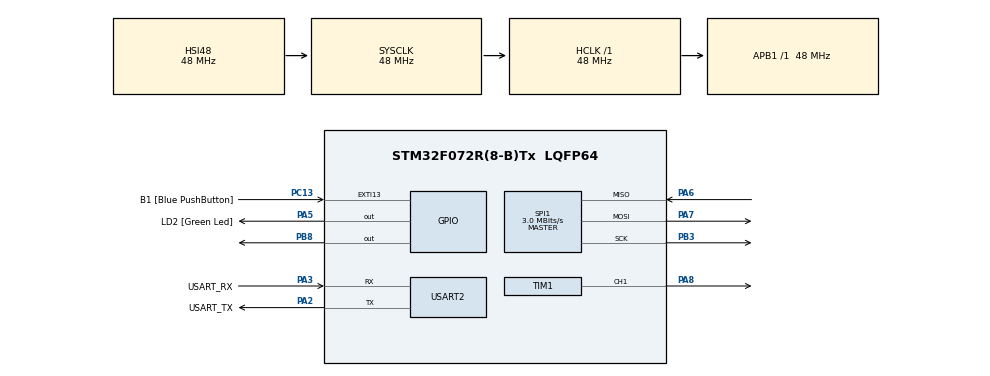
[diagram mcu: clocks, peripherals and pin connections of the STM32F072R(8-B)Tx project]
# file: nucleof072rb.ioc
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Mcu.Family=STM32F0
Mcu.Name=STM32F072R(8-B)Tx
Mcu.Package=LQFP64
PA13.GPIO_Label=TMS
PA13.Mode=Serial_Wire
PA13.Signal=SYS_SWDIO
PA14.GPIO_Label=TCK
PA14.Mode=Serial_Wire
PA14.Signal=SYS_SWCLK
PA2.GPIO_Label=USART_TX
PA2.GPIO_Mode=GPIO_MODE_AF_PP
PA2.GPIO_PuPd=GPIO_NOPULL
PA2.GPIO_Speed=GPIO_SPEED_FREQ_LOW
PA2.Mode=Asynchronous
PA2.Signal=USART2_TX
PA3.GPIO_Label=USART_RX
PA3.GPIO_Mode=GPIO_MODE_AF_PP
PA3.GPIO_PuPd=GPIO_NOPULL
PA3.GPIO_Speed=GPIO_SPEED_FREQ_LOW
PA3.Mode=Asynchronous
PA3.Signal=USART2_RX
PA5.GPIO_Label=LD2 [Green Led]
PA5.GPIO_Mode=GPIO_MODE_OUTPUT_PP
PA5.GPIO_PuPd=GPIO_NOPULL
PA5.GPIO_Speed=GPIO_SPEED_FREQ_LOW
PA5.Signal=GPIO_Output
PA6.Mode=Full_Duplex_Master
PA6.Signal=SPI1_MISO
PA7.Mode=Full_Duplex_Master
PA7.Signal=SPI1_MOSI
PA8.Signal=S_TIM1_CH1
PB3.Mode=Full_Duplex_Master
PB3.Signal=SPI1_SCK
PB8.Signal=GPIO_Output
PC13.GPIO_Label=B1 [Blue PushButton]
PC13.GPIO_ModeDefaultEXTI=GPIO_MODE_IT_FALLING
PC13.Signal=GPXTI13
PC14-OSC32_IN.Mode=LSE-External-Oscillator
PC14-OSC32_IN.Signal=RCC_OSC32_IN
PC15-OSC32_OUT.Mode=LSE-External-Oscillator
PC15-OSC32_OUT.Signal=RCC_OSC32_OUT
PF0-OSC_IN.Mode=HSE-External-Clock-Source
PF0-OSC_IN.Signal=RCC_OSC_IN
PF1-OSC_OUT.Signal=RCC_OSC_OUT
ProjectManager.HeapSize=0x200
ProjectManager.StackSize=0x400
ProjectManager.TargetToolchain=STM32CubeIDE
RCC.AHBFreq_Value=48000000
RCC.APB1Freq_Value=48000000
RCC.APB1TimFreq_Value=48000000
RCC.FLatency-AdvancedSettings=FLASH_LATENCY_1
RCC.HCLKFreq_Value=48000000
RCC.PLLDivider=RCC_PREDIV_DIV2
RCC.PLLMUL=RCC_PLL_MUL12
RCC.PREFETCH_ENABLE-AdvancedSettings=1
RCC.SYSCLKFreq_VALUE=48000000
RCC.SYSCLKSource=RCC_SYSCLKSOURCE_HSI48
SH.S_TIM1_CH1.0=TIM1_CH1,PWM Generation1 CH1
SPI1.BaudRatePrescaler=SPI_BAUDRATEPRESCALER_16
SPI1.CLKPhase=SPI_PHASE_1EDGE
SPI1.CalculateBaudRate=3.0 MBits/s
SPI1.DataSize=SPI_DATASIZE_8BIT
SPI1.Direction=SPI_DIRECTION_2LINES
SPI1.Mode=SPI_MODE_MASTER
SPI1.VirtualType=VM_MASTER
TIM1.Channel-PWM\ Generation1\ CH1=TIM_CHANNEL_1
TIM1.Period=64000
TIM1.Prescaler=14
USART2.VirtualMode=VM_ASYNC
USART2.VirtualMode-Asynchronous=VM_ASYNC
VP_TIM1_VS_ClockSourceINT.Mode=Internal
board=NUCLEO-F072RB

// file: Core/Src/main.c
/* USER CODE BEGIN Header */
/**
  ******************************************************************************
  * @file           : main.c
  * @brief          : Main program body
  ******************************************************************************
  * @attention
  *
  * <h2><center>&copy; Copyright (c) 2021 STMicroelectronics.
  * All rights reserved.</center></h2>
  *
  * This software component is licensed by ST under BSD 3-Clause license,
  * the "License"; You may not use this file except in compliance with the
  * License. You may obtain a copy of the License at:
  *                        opensource.org/licenses/BSD-3-Clause
  *
  ******************************************************************************
  */
/* USER CODE END Header */
#include "main.h"
#include "spi.h"
#include "tim.h"
#include "usart.h"
#include "gpio.h"

/* USER CODE BEGIN Includes */
#include <stdio.h>
/* USER CODE END Includes */

/* USER CODE BEGIN PD */
	#define MCP3004_START_BIT 0x01 // Start bit for MCP3004 chanel 1 - single-ended communication
	#define MCP3004_CHANNEL 0x80   // Single-ended channel 0 (0b1000 0000)
	#define MCP3004_lastByte 0x00
/* USER CODE END PD */

void SystemClock_Config(void);

/* USER CODE BEGIN 0 */
int map(int value, int scale1min, int scale1max, int scale2min, int scale2max);

/* USER CODE END 0 */

int main(void)
{

  /* MCU Configuration--------------------------------------------------------*/

  /* Reset of all peripherals, Initializes the Flash interface and the Systick. */
  HAL_Init();

  /* USER CODE BEGIN Init */
	uint8_t spiTxData[3]; // Buffer for SPI transmission
	uint8_t spiRxData[3]; // Buffer for SPI reception
	uint16_t adcValue;    // Variable to store ADC value
	float counts;    // Variable to store PWM value
  /* USER CODE END Init */

  /* Configure the system clock */
  SystemClock_Config();

  /* Initialize all configured peripherals */
  MX_GPIO_Init();
  MX_USART2_UART_Init();
  MX_SPI1_Init();
  MX_TIM1_Init();
  /* USER CODE BEGIN 2 */

	spiTxData[0] = MCP3004_START_BIT;
	spiTxData[1] = MCP3004_CHANNEL;
	spiTxData[2] = MCP3004_lastByte;

  /* USER CODE END 2 */

  /* Infinite loop */
  while (1)
  {

    /* USER CODE BEGIN 3 */
	  const unsigned int tenBit = 1023; //max integer value 10 bits can hold
	  const int counterPeriod = 64000;
	  const float dutyMin = 0.05; //minimum duty cycle % for PWM
	  const float dutyMax = 0.1; //maximum duty cycle % for PWM

	  HAL_GPIO_WritePin(GPIOB, GPIO_PIN_8, GPIO_PIN_RESET); //setting cs pin low
	  HAL_SPI_TransmitReceive(&hspi1, spiTxData, spiRxData, 3, 100); //sending 3 bytes and receiving 3
	  HAL_GPIO_WritePin(GPIOB, GPIO_PIN_8, GPIO_PIN_SET);
      adcValue = ((spiRxData[1] & 0x03) << 8) | spiRxData[2];

      counts = map(adcValue, 0, tenBit, counterPeriod*dutyMin, counterPeriod*dutyMax);
      HAL_TIM_PWM_Start(&htim1, TIM_CHANNEL_1);
      __HAL_TIM_SET_COMPARE(&htim1, TIM_CHANNEL_1, counts);

	  HAL_Delay(10);
  }
  /* USER CODE END 3 */
}

int map(int value, int scale1min, int scale1max, int scale2min, int scale2max)
{
  // Prevent division by zero in case scale1min equals scale1max
	if (scale1min == scale1max)
	{
		return scale2min; // Return the minimum of the output range
	}
	int range1 = scale1max - scale1min;
	int range2 = scale2max - scale1min;

	//percent away from scale1 min value
	int percent = (value - scale1min)/range1;

	// Perform the mapping
	return scale2min + percent * range2;
}
void SystemClock_Config(void)
{
  RCC_OscInitTypeDef RCC_OscInitStruct = {0};
  RCC_ClkInitTypeDef RCC_ClkInitStruct = {0};
  RCC_PeriphCLKInitTypeDef PeriphClkInit = {0};

  /** Initializes the RCC Oscillators according to the specified parameters
  * in the RCC_OscInitTypeDef structure.
  */
  RCC_OscInitStruct.OscillatorType = RCC_OSCILLATORTYPE_HSI48;
  RCC_OscInitStruct.HSI48State = RCC_HSI48_ON;
  RCC_OscInitStruct.PLL.PLLState = RCC_PLL_NONE;
  if (HAL_RCC_OscConfig(&RCC_OscInitStruct) != HAL_OK)
  {
    Error_Handler();
  }

  /** Initializes the CPU, AHB and APB buses clocks
  */
  RCC_ClkInitStruct.ClockType = RCC_CLOCKTYPE_HCLK|RCC_CLOCKTYPE_SYSCLK
                              |RCC_CLOCKTYPE_PCLK1;
  RCC_ClkInitStruct.SYSCLKSource = RCC_SYSCLKSOURCE_HSI48;
  RCC_ClkInitStruct.AHBCLKDivider = RCC_SYSCLK_DIV1;
  RCC_ClkInitStruct.APB1CLKDivider = RCC_HCLK_DIV1;

  if (HAL_RCC_ClockConfig(&RCC_ClkInitStruct, FLASH_LATENCY_1) != HAL_OK)
  {
    Error_Handler();
  }
  PeriphClkInit.PeriphClockSelection = RCC_PERIPHCLK_USART2;
  PeriphClkInit.Usart2ClockSelection = RCC_USART2CLKSOURCE_PCLK1;
  if (HAL_RCCEx_PeriphCLKConfig(&PeriphClkInit) != HAL_OK)
  {
    Error_Handler();
  }
}

void Error_Handler(void)
{
  __disable_irq();
  while (1)
  {
  }
}
